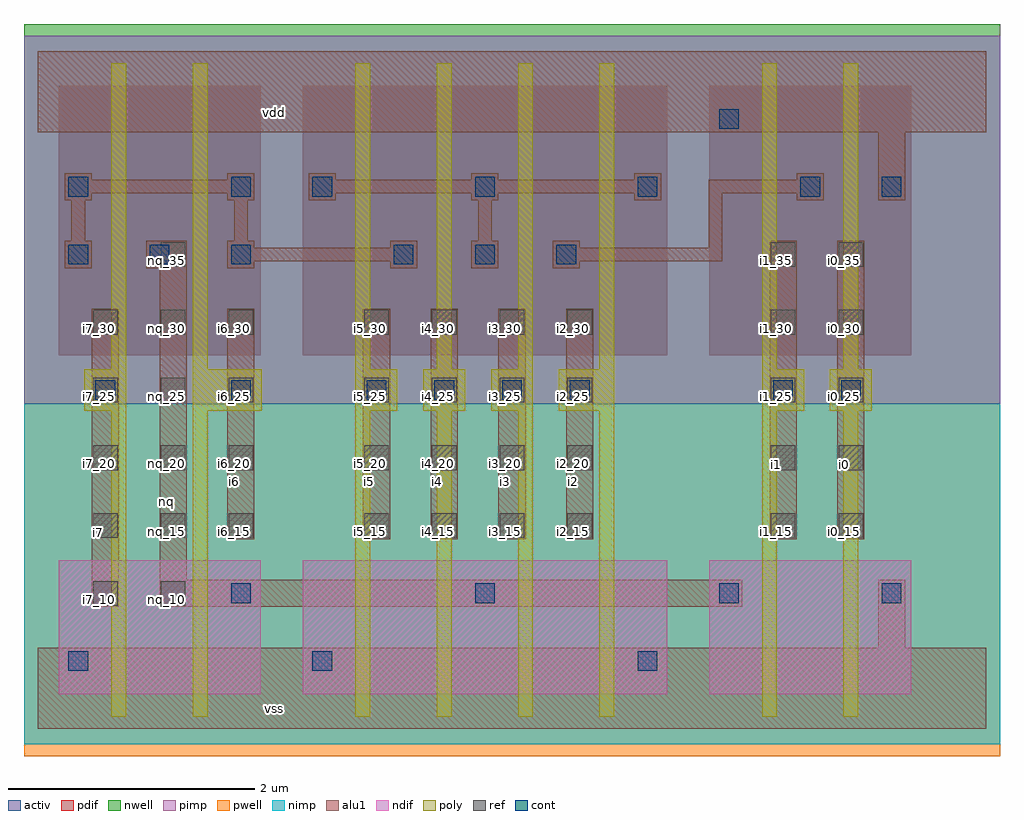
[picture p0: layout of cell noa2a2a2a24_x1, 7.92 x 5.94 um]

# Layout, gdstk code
import gdstk
lib = gdstk.Library(unit=1e-6, precision=2.5e-09)
def R(c, l, rs):  # rectangles x0, y0, x1, y1
    for r in rs: c.add(gdstk.rectangle(r[:2], r[2:], *l))
def A(c, l, x, y, w, h, nx, ny, dx, dy):  # array of equal rectangles
    R(c, l, [(x+i*dx, y+j*dy, x+i*dx+w, y+j*dy+h) for i in range(nx) for j in range(ny)])
ndif = (3, 0)
pdif = (4, 0)
ref = (24, 0)
cont = (25, 0)
pwell = (41, 0)
nwell = (42, 0)
activ = (43, 0)
pimp = (44, 0)
nimp = (45, 0)
poly = (46, 0)
alu1 = (49, 0)

noa2a2a2a24_x1 = lib.new_cell('noa2a2a2a24_x1')
R(noa2a2a2a24_x1, ndif, [(0.17,0.28,1.81,1.37), (0.17,0.28,1.81,1.37), (2.15,0.28,5.11,1.37), (2.15,0.28,5.11,1.37), (5.45,0.28,7.09,1.37), (5.45,0.28,7.09,1.37)])
R(noa2a2a2a24_x1, pdif, [(0.17,3.03,1.81,5.22), (0.17,3.03,1.81,5.22), (2.15,3.03,5.11,5.22), (2.15,3.03,5.11,5.22), (5.45,3.03,7.09,5.22), (5.45,3.03,7.09,5.22)])
A(noa2a2a2a24_x1, ref, 0.45, 1.55, 0.2, 0.2, 3, 4, 0.55, 0.55)
A(noa2a2a2a24_x1, ref, 2.65, 1.55, 0.2, 0.2, 4, 4, 0.55, 0.55)
A(noa2a2a2a24_x1, ref, 5.95, 1.55, 0.2, 0.2, 1, 5, 0, 0.55)
A(noa2a2a2a24_x1, ref, 6.5, 1.55, 0.2, 0.2, 1, 5, 0, 0.55)
R(noa2a2a2a24_x1, ref, [(0.45,1,0.65,1.2), (1,1,1.2,1.2), (1,3.75,1.2,3.95)])
A(noa2a2a2a24_x1, cont, 1.57, 1.02, 0.16, 0.16, 3, 1, 1.98, 0)
A(noa2a2a2a24_x1, cont, 0.47, 2.67, 0.16, 0.16, 3, 1, 1.1, 0)
A(noa2a2a2a24_x1, cont, 3.22, 2.67, 0.16, 0.16, 3, 1, 0.55, 0)
A(noa2a2a2a24_x1, cont, 0.25, 3.77, 0.16, 0.16, 3, 1, 0.66, 0)
A(noa2a2a2a24_x1, cont, 2.89, 3.77, 0.16, 0.16, 3, 1, 0.66, 0)
A(noa2a2a2a24_x1, cont, 2.23, 4.32, 0.16, 0.16, 4, 1, 1.32, 0)
R(noa2a2a2a24_x1, cont, [(0.25,0.47,0.41,0.63), (2.23,0.47,2.39,0.63), (4.87,0.47,5.03,0.63), (6.85,1.02,7.01,1.18), (5.97,2.67,6.13,2.83), (6.52,2.67,6.68,2.83), (0.25,4.32,0.41,4.48), (1.57,4.32,1.73,4.48), (6.85,4.32,7.01,4.48), (5.53,4.87,5.69,5.03)])
R(noa2a2a2a24_x1, pwell, [(-0.11,-0.22,7.81,2.64)])
R(noa2a2a2a24_x1, nwell, [(-0.11,2.64,7.81,5.72)])
R(noa2a2a2a24_x1, activ, [(0.17,0.28,1.81,1.37), (0.17,0.28,1.81,1.37), (2.15,0.28,5.11,1.37), (2.15,0.28,5.11,1.37), (5.45,0.28,7.09,1.37), (5.45,0.28,7.09,1.37), (0.17,3.03,1.81,5.22), (0.17,3.03,1.81,5.22), (2.15,3.03,5.11,5.22), (2.15,3.03,5.11,5.22), (5.45,3.03,7.09,5.22), (5.45,3.03,7.09,5.22)])
R(noa2a2a2a24_x1, pimp, [(-0.11,2.64,7.81,5.625)])
R(noa2a2a2a24_x1, nimp, [(-0.11,-0.125,7.81,2.64)])
A(noa2a2a2a24_x1, poly, 2.58, 0.1, 0.12, 2.48, 4, 2, 0.66, 2.82)
A(noa2a2a2a24_x1, poly, 2.58, 2.58, 0.34, 0.34, 3, 1, 0.55, 0)
R(noa2a2a2a24_x1, poly, [(0.6,0.1,0.72,2.58), (1.26,0.1,1.38,2.58), (5.88,0.1,6,2.58), (6.54,0.1,6.66,2.58), (0.38,2.58,0.72,2.92), (1.26,2.58,1.82,2.92), (4.23,2.58,4.68,2.92), (5.88,2.58,6.22,2.92), (6.43,2.58,6.77,2.92), (0.6,2.92,0.72,5.4), (1.26,2.92,1.38,5.4), (5.88,2.92,6,5.4), (6.54,2.92,6.66,5.4)])
A(noa2a2a2a24_x1, alu1, 2.64, 1.54, 0.22, 1.87, 4, 1, 0.55, 0)
A(noa2a2a2a24_x1, alu1, 1.54, 3.74, 0.22, 0.055, 3, 2, 1.32, 0.165)
A(noa2a2a2a24_x1, alu1, 2.2, 4.29, 0.22, 0.055, 4, 2, 1.32, 0.165)
R(noa2a2a2a24_x1, alu1, [(0,0,7.7,0.66), (6.82,0.66,7.04,1.21), (0.44,0.99,0.66,3.41), (0.99,0.99,5.72,1.21), (0.99,1.21,1.21,3.74), (1.54,1.54,1.76,3.41), (5.94,1.54,6.16,3.96), (6.49,1.54,6.71,3.96), (0.22,3.74,0.44,3.96), (0.88,3.74,1.21,3.96), (3.52,3.74,3.74,3.96), (1.54,3.795,3.08,3.905), (4.18,3.795,5.555,3.905), (5.445,3.905,5.555,4.345), (0.275,3.96,0.385,4.29), (1.595,3.96,1.705,4.29), (3.575,3.96,3.685,4.29), (0.22,4.29,0.44,4.345), (1.54,4.29,1.76,4.345), (6.82,4.29,7.04,4.84), (0.22,4.345,1.76,4.455), (2.2,4.345,5.06,4.455), (5.445,4.345,6.38,4.455), (0.22,4.455,0.44,4.51), (1.54,4.455,1.76,4.51), (0,4.84,7.7,5.5)])
noa2a2a2a24_x1.add(gdstk.Label('vss', (1.925,0.165), layer=49, texttype=0))
noa2a2a2a24_x1.add(gdstk.Label('i0', (6.545,2.145), layer=49, texttype=0))
noa2a2a2a24_x1.add(gdstk.Label('i1', (5.995,2.145), layer=49, texttype=0))
noa2a2a2a24_x1.add(gdstk.Label('i2', (4.345,2.0075), layer=49, texttype=0))
noa2a2a2a24_x1.add(gdstk.Label('i3', (3.795,2.0075), layer=49, texttype=0))
noa2a2a2a24_x1.add(gdstk.Label('i4', (3.245,2.0075), layer=49, texttype=0))
noa2a2a2a24_x1.add(gdstk.Label('i5', (2.695,2.0075), layer=49, texttype=0))
noa2a2a2a24_x1.add(gdstk.Label('i6', (1.595,2.0075), layer=49, texttype=0))
noa2a2a2a24_x1.add(gdstk.Label('nq', (1.045,1.8425), layer=49, texttype=0))
noa2a2a2a24_x1.add(gdstk.Label('i7', (0.495,1.595), layer=49, texttype=0))
noa2a2a2a24_x1.add(gdstk.Label('vdd', (1.925,5.005), layer=49, texttype=0))
noa2a2a2a24_x1.add(gdstk.Label('i0_35', (6.55,3.8), layer=24, texttype=0))
noa2a2a2a24_x1.add(gdstk.Label('i0_30', (6.55,3.25), layer=24, texttype=0))
noa2a2a2a24_x1.add(gdstk.Label('i0_25', (6.55,2.7), layer=24, texttype=0))
noa2a2a2a24_x1.add(gdstk.Label('i0_20', (6.55,2.15), layer=24, texttype=0))
noa2a2a2a24_x1.add(gdstk.Label('i0_15', (6.55,1.6), layer=24, texttype=0))
noa2a2a2a24_x1.add(gdstk.Label('i1_35', (6,3.8), layer=24, texttype=0))
noa2a2a2a24_x1.add(gdstk.Label('i1_30', (6,3.25), layer=24, texttype=0))
noa2a2a2a24_x1.add(gdstk.Label('i1_25', (6,2.7), layer=24, texttype=0))
noa2a2a2a24_x1.add(gdstk.Label('i1_20', (6,2.15), layer=24, texttype=0))
noa2a2a2a24_x1.add(gdstk.Label('i1_15', (6,1.6), layer=24, texttype=0))
noa2a2a2a24_x1.add(gdstk.Label('i2_30', (4.35,3.25), layer=24, texttype=0))
noa2a2a2a24_x1.add(gdstk.Label('i2_25', (4.35,2.7), layer=24, texttype=0))
noa2a2a2a24_x1.add(gdstk.Label('i2_20', (4.35,2.15), layer=24, texttype=0))
noa2a2a2a24_x1.add(gdstk.Label('i2_15', (4.35,1.6), layer=24, texttype=0))
noa2a2a2a24_x1.add(gdstk.Label('i3_30', (3.8,3.25), layer=24, texttype=0))
noa2a2a2a24_x1.add(gdstk.Label('i3_25', (3.8,2.7), layer=24, texttype=0))
noa2a2a2a24_x1.add(gdstk.Label('i3_20', (3.8,2.15), layer=24, texttype=0))
noa2a2a2a24_x1.add(gdstk.Label('i3_15', (3.8,1.6), layer=24, texttype=0))
noa2a2a2a24_x1.add(gdstk.Label('i4_30', (3.25,3.25), layer=24, texttype=0))
noa2a2a2a24_x1.add(gdstk.Label('i4_25', (3.25,2.7), layer=24, texttype=0))
noa2a2a2a24_x1.add(gdstk.Label('i4_20', (3.25,2.15), layer=24, texttype=0))
noa2a2a2a24_x1.add(gdstk.Label('i4_15', (3.25,1.6), layer=24, texttype=0))
noa2a2a2a24_x1.add(gdstk.Label('i5_30', (2.7,3.25), layer=24, texttype=0))
noa2a2a2a24_x1.add(gdstk.Label('i5_25', (2.7,2.7), layer=24, texttype=0))
noa2a2a2a24_x1.add(gdstk.Label('i5_20', (2.7,2.15), layer=24, texttype=0))
noa2a2a2a24_x1.add(gdstk.Label('i5_15', (2.7,1.6), layer=24, texttype=0))
noa2a2a2a24_x1.add(gdstk.Label('i6_30', (1.6,3.25), layer=24, texttype=0))
noa2a2a2a24_x1.add(gdstk.Label('i6_25', (1.6,2.7), layer=24, texttype=0))
noa2a2a2a24_x1.add(gdstk.Label('i6_20', (1.6,2.15), layer=24, texttype=0))
noa2a2a2a24_x1.add(gdstk.Label('i6_15', (1.6,1.6), layer=24, texttype=0))
noa2a2a2a24_x1.add(gdstk.Label('nq_35', (1.05,3.8), layer=24, texttype=0))
noa2a2a2a24_x1.add(gdstk.Label('nq_30', (1.05,3.25), layer=24, texttype=0))
noa2a2a2a24_x1.add(gdstk.Label('nq_25', (1.05,2.7), layer=24, texttype=0))
noa2a2a2a24_x1.add(gdstk.Label('nq_20', (1.05,2.15), layer=24, texttype=0))
noa2a2a2a24_x1.add(gdstk.Label('nq_15', (1.05,1.6), layer=24, texttype=0))
noa2a2a2a24_x1.add(gdstk.Label('nq_10', (1.05,1.05), layer=24, texttype=0))
noa2a2a2a24_x1.add(gdstk.Label('i7_30', (0.5,3.25), layer=24, texttype=0))
noa2a2a2a24_x1.add(gdstk.Label('i7_25', (0.5,2.7), layer=24, texttype=0))
noa2a2a2a24_x1.add(gdstk.Label('i7_20', (0.5,2.15), layer=24, texttype=0))
noa2a2a2a24_x1.add(gdstk.Label('i7_15', (0.5,1.6), layer=24, texttype=0))
noa2a2a2a24_x1.add(gdstk.Label('i7_10', (0.5,1.05), layer=24, texttype=0))

lib.write_gds('noa2a2a2a24_x1.gds')
